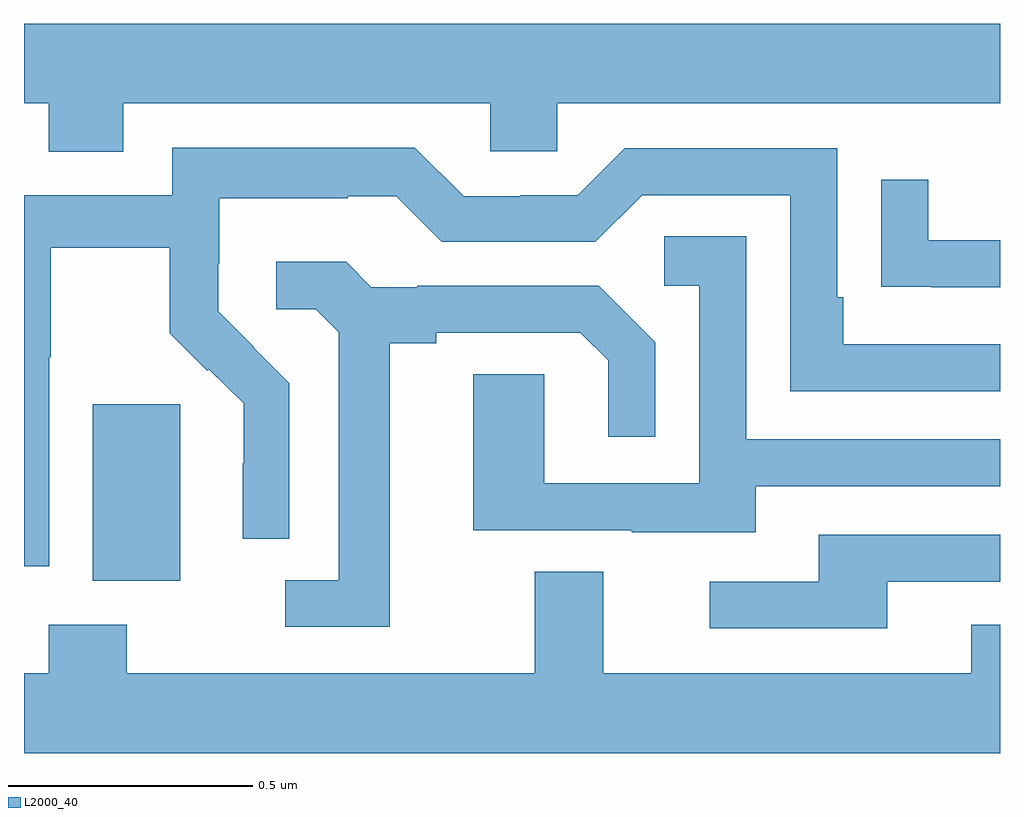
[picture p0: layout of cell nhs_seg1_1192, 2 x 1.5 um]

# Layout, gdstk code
import gdstk
lib = gdstk.Library(unit=1e-6, precision=1e-09)
def R(c, l, rs):  # rectangles x0, y0, x1, y1
    for r in rs: c.add(gdstk.rectangle(r[:2], r[2:], *l))
def P(c, l, *ps):  # polygons
    for p in ps: c.add(gdstk.Polygon(p, *l))
L2000_40 = (2000, 40)

nhs_seg1_1192 = lib.new_cell('nhs_seg1_1192')
R(nhs_seg1_1192, L2000_40, [(125.141,580.058,125.32,580.419)])
P(nhs_seg1_1192, L2000_40, [(125.203,581.036),(125.955,581.036),(125.955,580.938),(126.093,580.938),(126.093,581.036),(127,581.036),(127,581.199),(125,581.199),(125,581.036),(125.051,581.036),(125.051,580.937),(125.203,580.937)],
  [(125.052,580.516),(125.055,580.516),(125.055,580.74),(125.299,580.74),(125.299,580.565),(125.376,580.488),(125.379,580.491),(125.45,580.421),(125.45,580.298),(125.448,580.298),(125.448,580.144),(125.544,580.144),(125.544,580.462),(125.471,580.535),(125.472,580.536),(125.398,580.61),(125.398,580.707),(125.4,580.707),(125.4,580.841),(125.663,580.841),(125.663,580.845),(125.763,580.845),(125.856,580.752),(126.171,580.752),(126.267,580.848),(126.57,580.848),(126.57,580.446),(127,580.446),(127,580.542),(126.679,580.542),(126.679,580.639),(126.666,580.639),(126.666,580.944),(126.231,580.944),(126.135,580.848),(126.017,580.848),(126.017,580.845),(125.901,580.845),(125.801,580.945),(125.304,580.945),(125.304,580.848),(125,580.848),(125,580.087),(125.052,580.087)],
  [(127,580.755),(126.853,580.755),(126.853,580.879),(126.757,580.879),(126.757,580.66),(126.859,580.66),(126.859,580.659),(127,580.659)],
  [(126.499,580.251),(127,580.251),(127,580.347),(126.48,580.347),(126.48,580.763),(126.312,580.763),(126.312,580.662),(126.384,580.662),(126.384,580.257),(126.066,580.257),(126.066,580.481),(125.921,580.481),(125.921,580.161),(126.245,580.161),(126.245,580.157),(126.499,580.157)],
  [(125.749,580.544),(125.845,580.544),(125.845,580.566),(126.14,580.566),(126.197,580.509),(126.197,580.353),(126.294,580.353),(126.294,580.546),(126.178,580.662),(125.806,580.662),(125.806,580.659),(125.712,580.659),(125.66,580.711),(125.517,580.711),(125.517,580.614),(125.598,580.614),(125.645,580.567),(125.645,580.059),(125.535,580.059),(125.535,579.963),(125.749,579.963)],
  [(126.769,580.056),(127,580.056),(127,580.152),(126.629,580.152),(126.629,580.056),(126.405,580.056),(126.405,579.96),(126.769,579.96)],
  [(127,579.967),(126.941,579.967),(126.941,579.868),(126.187,579.868),(126.187,580.076),(126.047,580.076),(126.047,579.868),(125.211,579.868),(125.211,579.967),(125.051,579.967),(125.051,579.868),(125,579.868),(125,579.704),(127,579.704)])

lib.write_gds('nhs_seg1_1192.gds')
